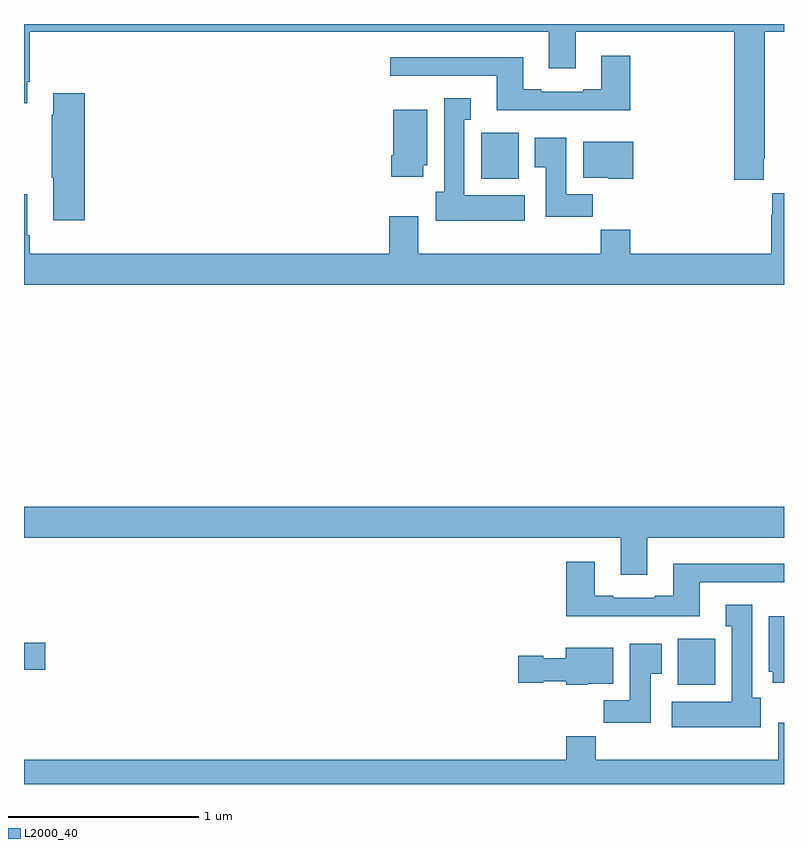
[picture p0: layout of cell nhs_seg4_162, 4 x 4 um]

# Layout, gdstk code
import gdstk
lib = gdstk.Library(unit=1e-6, precision=1e-09)
def R(c, l, rs):  # rectangles x0, y0, x1, y1
    for r in rs: c.add(gdstk.rectangle(r[:2], r[2:], *l))
def P(c, l, *ps):  # polygons
    for p in ps: c.add(gdstk.Polygon(p, *l))
L2000_40 = (2000, 40)

nhs_seg4_162 = lib.new_cell('nhs_seg4_162')
R(nhs_seg4_162, L2000_40, [(122.441,753.422,122.638,753.664), (119,753.502,119.113,753.644), (121.406,756.086,121.603,756.328)])
P(nhs_seg4_162, L2000_40, [(122.893,756.193),(122.898,756.193),(122.898,756.86),(123,756.86),(123,756.9),(119,756.9),(119,756.483),(119.017,756.483),(119.017,756.595),(119.03,756.595),(119.03,756.86),(121.763,756.86),(121.763,756.666),(121.903,756.666),(121.903,756.86),(122.738,756.86),(122.738,756.081),(122.893,756.081)],
  [(122.192,756.733),(122.039,756.733),(122.039,756.556),(121.943,756.556),(121.943,756.543),(121.723,756.543),(121.723,756.556),(121.627,756.556),(121.627,756.724),(120.927,756.724),(120.927,756.627),(121.487,756.627),(121.487,756.446),(122.192,756.446)],
  [(119.321,756.535),(119.153,756.535),(119.153,756.422),(119.146,756.422),(119.146,756.091),(119.153,756.091),(119.153,755.868),(119.321,755.868)],
  [(121.636,755.998),(121.318,755.998),(121.318,756.395),(121.351,756.395),(121.351,756.508),(121.211,756.508),(121.211,756.018),(121.166,756.018),(121.166,755.864),(121.636,755.864)],
  [(121.102,756.156),(121.123,756.156),(121.123,756.448),(120.944,756.448),(120.944,756.208),(120.932,756.208),(120.932,756.096),(121.102,756.096)],
  [(121.994,756.004),(121.855,756.004),(121.855,756.301),(121.688,756.301),(121.688,756.145),(121.745,756.145),(121.745,755.886),(121.994,755.886)],
  [(122.207,756.28),(121.943,756.28),(121.943,756.092),(122.076,756.092),(122.076,756.086),(122.207,756.086)],
  [(123,756.01),(122.939,756.01),(122.939,755.897),(122.933,755.897),(122.933,755.692),(122.192,755.692),(122.192,755.816),(122.035,755.816),(122.035,755.692),(121.075,755.692),(121.075,755.887),(120.923,755.887),(120.923,755.692),(119.03,755.692),(119.03,755.788),(119.017,755.788),(119.017,756.004),(119,756.004),(119,755.528),(123,755.528)],
  [(122.281,754.196),(123,754.196),(123,754.36),(119,754.36),(119,754.196),(122.141,754.196),(122.141,754.002),(122.281,754.002)],
  [(122.557,753.963),(123,753.963),(123,754.06),(122.417,754.06),(122.417,753.892),(122.321,753.892),(122.321,753.879),(122.101,753.879),(122.101,753.892),(122.005,753.892),(122.005,754.069),(121.853,754.069),(121.853,753.782),(122.557,753.782)],
  [(122.878,753.354),(122.833,753.354),(122.833,753.844),(122.693,753.844),(122.693,753.731),(122.726,753.731),(122.726,753.334),(122.409,753.334),(122.409,753.2),(122.878,753.2)],
  [(123,753.784),(122.921,753.784),(122.921,753.492),(122.942,753.492),(122.942,753.432),(123,753.432)],
  [(122.299,753.481),(122.356,753.481),(122.356,753.637),(122.189,753.637),(122.189,753.34),(122.05,753.34),(122.05,753.222),(122.299,753.222)],
  [(121.968,753.428),(122.101,753.428),(122.101,753.616),(121.85,753.616),(121.85,753.562),(121.734,753.562),(121.734,753.575),(121.602,753.575),(121.602,753.433),(121.734,753.433),(121.734,753.44),(121.854,753.44),(121.854,753.422),(121.968,753.422)],
  [(123,753.223),(122.969,753.223),(122.969,753.028),(122.009,753.028),(122.009,753.152),(121.853,753.152),(121.853,753.028),(119,753.028),(119,752.9),(123,752.9)])

lib.write_gds('nhs_seg4_162.gds')
